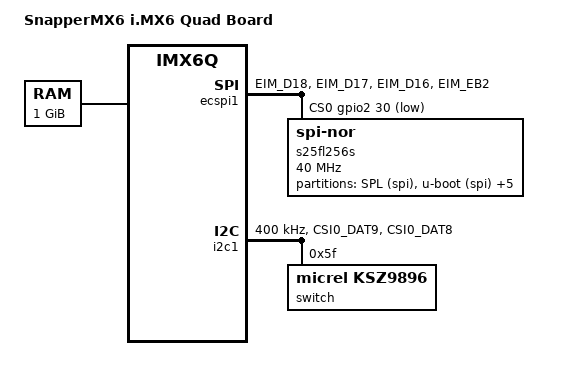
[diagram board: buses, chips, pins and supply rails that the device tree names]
/*
 * Copyright 2017
 * Lukasz Majewski, DENX Software Engineering, lukma@denx.de
 *
 * This program is free software; you can redistribute it and/or modify
 * it under the terms of the GNU General Public License version 2 as
 * published by the Free Software Foundation.
 *
 */

/dts-v1/;

#include <dt-bindings/gpio/gpio.h>
#include "imx6q.dtsi"

/ {
	model = "SnapperMX6 i.MX6 Quad Board";
	compatible = "fsl,imx6q";

	chosen {
		console = &uart5;
	};

	memory@10000000 {
		device_type = "memory";
		reg = <0x10000000 0x40000000>;
	};

	wdt-reboot {
		compatible = "wdt-reboot";
		wdt = <&wdog1>;
	};
};

&ecspi1 {
	cs-gpios = <&gpio2 30 GPIO_ACTIVE_LOW>;
	pinctrl-names = "default";
	pinctrl-0 = <&pinctrl_ecspi1 &pinctrl_ecspi1_cs>;
	status = "okay";

	s25fl256s: flash@0 {
		#address-cells = <1>;
		#size-cells = <1>;
		compatible = "jedec,spi-nor";
		spi-max-frequency = <40000000>;
		reg = <0>;

		partition@0 {
			label = "SPL (spi)";
			reg = <0x0 0x20000>;
			read-only;
		};
		partition@1 {
			label = "u-boot (spi)";
			reg = <0x20000 0x100000>;
			read-only;
		};
		partition@2 {
			label = "uboot-env (spi)";
			reg = <0x120000 0x10000>;
		};
		partition@3 {
			label = "uboot-envr (spi)";
			reg = <0x130000 0x10000>;
		};
		partition@4 {
			label = "linux-recovery (spi)";
			reg = <0x140000 0x800000>;
		};
		partition@5 {
			label = "swupdate-fitImg (spi)";
			reg = <0x940000 0x400000>;
		};
		partition@6 {
			label = "swupdate-initramfs (spi)";
			reg = <0xD40000 0x800000>;
		};
	};
};

&fec {
	/* See snappermx6.c/board_fdt_blob_setup for how these are adjusted on boot */
	pinctrl-names = "default", "rev2", "rev3";
	pinctrl-0 = <0>; // This will be overridden during board detection
	pinctrl-1 = <&pinctrl_enet_rev2>; // These must be referenced to avoid being cleaned during dtb compilation
	pinctrl-2 = <&pinctrl_enet_rev3>;

	phy-mode = "";
	status = "disabled";

	fixed-link {
		speed = <0>;
		full-duplex;
	};
};

&i2c1 {
	clock-frequency = <400000>;
	pinctrl-names = "default";
	pinctrl-0 = <&pinctrl_i2c1>;
	status = "okay";

	switch: switch@5f {
		compatible = "micrel,ksz9896";
		reg = <0x5f>;
		u-boot,i2c-offset-len = <2>; // 16-bit addressing
		status = "okay"; // TODO: override?
		phy-mode = "rgmii-id";
		micrel,led-mode = <1>;
	};
};

&iomuxc {
	pinctrl-names = "default";
	pinctrl-0 = <&pinctrl_hog>;

	pinctrl_hog: hog0grp {
		// Board detect pins as inputs
		fsl,pins = <
			MX6QDL_PAD_SD4_DAT1__GPIO2_IO09 0x1b0b0
			MX6QDL_PAD_SD4_DAT2__GPIO2_IO10  0x1b0b0
		>;
	};

	pinctrl_ecspi1: ecspi1grp {
		fsl,pins = <
			MX6QDL_PAD_EIM_D18__ECSPI1_MOSI		0x100b1
			MX6QDL_PAD_EIM_D17__ECSPI1_MISO		0x100b1
			MX6QDL_PAD_EIM_D16__ECSPI1_SCLK		0x100b1
		>;
	};

	pinctrl_ecspi1_cs: ecspi1csgrp {
		fsl,pins = <
			MX6QDL_PAD_EIM_EB2__GPIO2_IO30		0x1b0b0
		>;
	};

	pinctrl_enet_rev2: enet_rev2grp {
		fsl,pins = <
			MX6QDL_PAD_ENET_MDC__ENET_MDC		0x1b0b0
			MX6QDL_PAD_ENET_MDIO__ENET_MDIO		0x1b0b0
			MX6QDL_PAD_ENET_REF_CLK__ENET_TX_CLK	0x1b0b0
			MX6QDL_PAD_ENET_TX_EN__ENET_TX_EN	0x1b0b0
			MX6QDL_PAD_ENET_TXD0__ENET_TX_DATA0	0x1b0b0
			MX6QDL_PAD_ENET_TXD1__ENET_TX_DATA1	0x1b0b0
			MX6QDL_PAD_KEY_ROW2__ENET_TX_DATA2	0x1b0b0
			MX6QDL_PAD_KEY_ROW0__ENET_TX_DATA3	0x1b0b0
			MX6QDL_PAD_GPIO_18__ENET_RX_CLK		0x1b0b0
			MX6QDL_PAD_ENET_CRS_DV__ENET_RX_EN	0x1b0b0
			MX6QDL_PAD_ENET_RXD0__ENET_RX_DATA0	0x1b0b0
			MX6QDL_PAD_ENET_RXD1__ENET_RX_DATA1	0x1b0b0
			MX6QDL_PAD_KEY_COL2__ENET_RX_DATA2	0x1b0b0
			MX6QDL_PAD_KEY_COL0__ENET_RX_DATA3	0x1b0b0
			MX6QDL_PAD_ENET_RX_ER__ENET_RX_ER	0x1b0b0
			MX6QDL_PAD_KEY_ROW1__ENET_COL		0x1b0b0
			MX6QDL_PAD_KEY_COL3__ENET_CRS		0x1b0b0

			/* Ethernet PHY reset */
			MX6QDL_PAD_KEY_COL1__GPIO4_IO08         0x1b0b0
		>;
	};

	pinctrl_enet_rev3: enet_rev3grp {
		fsl,pins = <
			MX6QDL_PAD_RGMII_TXC__RGMII_TXC		0x1b0b0
			MX6QDL_PAD_RGMII_TD0__RGMII_TD0		0x1b0b0
			MX6QDL_PAD_RGMII_TD1__RGMII_TD1		0x1b0b0
			MX6QDL_PAD_RGMII_TD2__RGMII_TD2		0x1b0b0
			MX6QDL_PAD_RGMII_TD3__RGMII_TD3		0x1b0b0
			MX6QDL_PAD_RGMII_TX_CTL__RGMII_TX_CTL	0x1b0b0
			MX6QDL_PAD_RGMII_RXC__RGMII_RXC		0x1b0b0
			MX6QDL_PAD_RGMII_RD0__RGMII_RD0		0x1b0b0
			MX6QDL_PAD_RGMII_RD1__RGMII_RD1		0x1b0b0
			MX6QDL_PAD_RGMII_RD2__RGMII_RD2		0x1b0b0
			MX6QDL_PAD_RGMII_RD3__RGMII_RD3		0x1b0b0
			MX6QDL_PAD_RGMII_RX_CTL__RGMII_RX_CTL	0x1b0b0

			MX6QDL_PAD_GPIO_16__ENET_REF_CLK 0x1b0b0
			MX6QDL_PAD_ENET_REF_CLK__ENET_TX_CLK	0x1b0b0

			/* Ethernet PHY reset */
			MX6QDL_PAD_KEY_COL1__GPIO4_IO08         0x1b0b0


			/* ENET_INT */
			/* ENET_PME */
		>;
	};

	pinctrl_i2c1: i2c1grp {
		fsl,pins = <
			MX6QDL_PAD_CSI0_DAT9__I2C1_SCL	0x4001b8b1
			MX6QDL_PAD_CSI0_DAT8__I2C1_SDA	0x4001b8b1
		>;
	};
};
